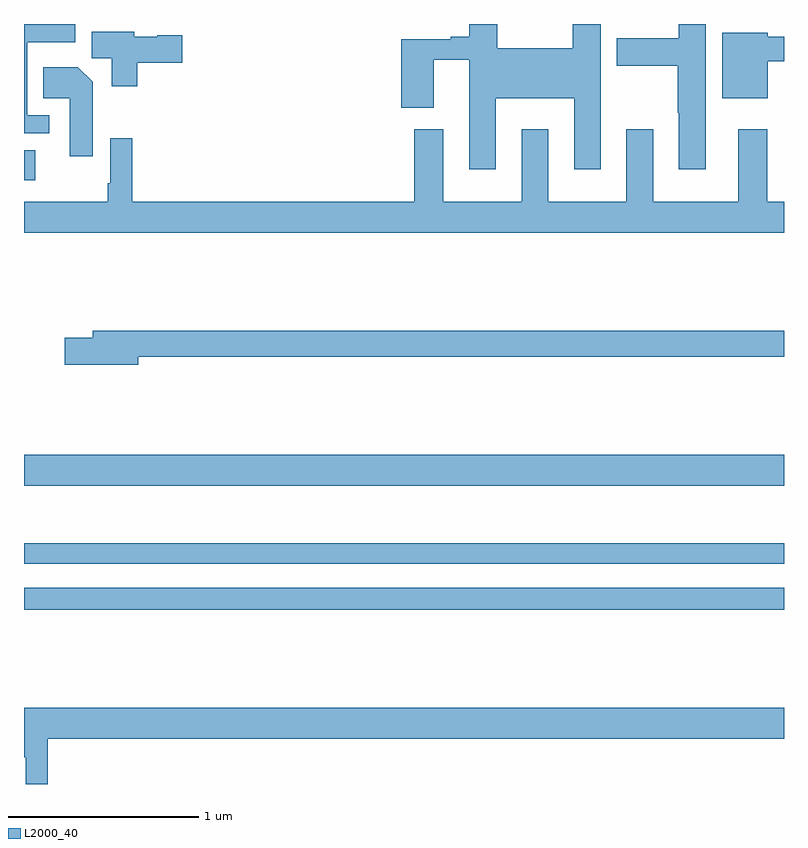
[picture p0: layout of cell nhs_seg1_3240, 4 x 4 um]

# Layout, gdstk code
import gdstk
lib = gdstk.Library(unit=1e-6, precision=1e-09)
def R(c, l, rs):  # rectangles x0, y0, x1, y1
    for r in rs: c.add(gdstk.rectangle(r[:2], r[2:], *l))
def P(c, l, *ps):  # polygons
    for p in ps: c.add(gdstk.Polygon(p, *l))
L2000_40 = (2000, 40)

nhs_seg1_3240 = lib.new_cell('nhs_seg1_3240')
R(nhs_seg1_3240, L2000_40, [(287,515.116,291,515.232), (287,515.358,291,515.467), (287,515.768,291,515.932), (287,517.376,287.059,517.534)])
P(nhs_seg1_3240, L2000_40, [(287.134,517.719),(287.016,517.719),(287.016,518.102),(287.269,518.102),(287.269,518.199),(287,518.199),(287,517.623),(287.134,517.623)],
  [(290.587,518.199),(290.447,518.199),(290.447,518.125),(290.12,518.125),(290.12,517.978),(290.44,517.978),(290.44,517.732),(290.447,517.732),(290.447,517.434),(290.587,517.434)],
  [(289.483,517.808),(289.895,517.808),(289.895,517.434),(290.035,517.434),(290.035,518.199),(289.888,518.199),(289.888,518.071),(289.491,518.071),(289.491,518.199),(289.343,518.199),(289.343,518.131),(289.247,518.131),(289.247,518.118),(288.986,518.118),(288.986,517.758),(289.156,517.758),(289.156,518.01),(289.343,518.01),(289.343,517.434),(289.483,517.434)],
  [(287.597,517.996),(287.833,517.996),(287.833,518.139),(287.7,518.139),(287.7,518.131),(287.58,518.131),(287.58,518.158),(287.357,518.158),(287.357,518.02),(287.462,518.02),(287.462,517.871),(287.597,517.871)],
  [(290.914,518.002),(291,518.002),(291,518.131),(290.914,518.131),(290.914,518.152),(290.675,518.152),(290.675,517.808),(290.914,517.808)],
  [(287.362,517.894),(287.284,517.972),(287.101,517.972),(287.101,517.808),(287.24,517.808),(287.24,517.503),(287.362,517.503)],
  [(291,517.264),(290.912,517.264),(290.912,517.645),(290.759,517.645),(290.759,517.264),(290.311,517.264),(290.311,517.645),(290.171,517.645),(290.171,517.264),(289.759,517.264),(289.759,517.645),(289.619,517.645),(289.619,517.264),(289.207,517.264),(289.207,517.645),(289.055,517.645),(289.055,517.264),(287.57,517.264),(287.57,517.597),(287.454,517.597),(287.454,517.36),(287.442,517.36),(287.442,517.264),(287,517.264),(287,517.1),(291,517.1)],
  [(287.602,516.448),(291,516.448),(291,516.584),(287.363,516.584),(287.363,516.548),(287.214,516.548),(287.214,516.406),(287.602,516.406)],
  [(287.126,514.436),(291,514.436),(291,514.6),(287,514.6),(287,514.34),(287.01,514.34),(287.01,514.199),(287.126,514.199)])

lib.write_gds('nhs_seg1_3240.gds')
